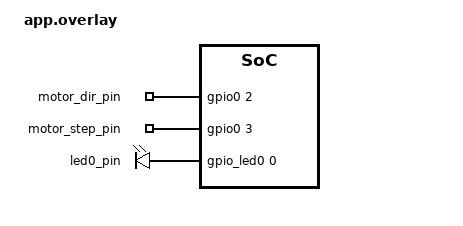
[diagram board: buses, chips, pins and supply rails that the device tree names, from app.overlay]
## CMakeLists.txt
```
# SPDX-License-Identifier: Apache-2.0

cmake_minimum_required(VERSION 3.20.0)

find_package(Zephyr REQUIRED HINTS $ENV{ZEPHYR_BASE})
project(syringepump)

target_sources(app PRIVATE src/main.c)
```

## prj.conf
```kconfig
CONFIG_LLVM_USE_LLD=y
CONFIG_COMPILER_RT_RTLIB=y

CONFIG_USERSPACE=y
CONFIG_FPU=y
CONFIG_FPU_SHARING=y

CONFIG_COMPILER_OPT="-O2"
```

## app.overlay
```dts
/ {
	aliases {
		motor-dir = &motor_dir_pin;
		motor-step = &motor_step_pin;
		led0 = &led0_pin;
	};

	gpios {
		compatible = "gpio-leds";

		/* Temporary mapping: replace gpio0/pin numbers after checking MPS3 pinout */
		motor_dir_pin: motor_dir_pin {
			gpios = <&gpio0 2 0>;
		};

		motor_step_pin: motor_step_pin {
			gpios = <&gpio0 3 0>;
		};

		/* On-board MPS3 LED 0 */
		led0_pin: led0_pin {
			gpios = <&gpio_led0 0>;
		};
	};
};
```

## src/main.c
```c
/*
 * Copyright (c) 2024, Your Name <your.email@example.com>
 *
 * SPDX-License-Identifier: Apache-2.0
 */

/*
 * Syringe Pump Control for Zephyr RTOS (Benchmark Version)
 *
 * This code is a port of a RIOT OS benchmark sketch for controlling a stepper
 * motor-based syringe pump and measuring performance characteristics.
 * It does not require an LCD or keypad shield.
 *
 * --- Zephyr Configuration Requirements ---
 *
 * 1. prj.conf:
 *    Make sure your prj.conf file includes these configurations.
 *
 *    CONFIG_GPIO=y
 *    CONFIG_UART_CONSOLE=y
 *    CONFIG_FPU=y
 *    CONFIG_CBPRINTF_FP_SUPPORT=y
 *    CONFIG_ARCH_HAS_DWT=y
 *
 * 2. app.overlay (Devicetree Overlay):
 *    Define the motor control pins for your board.
 *
 *    / {
 *        aliases {
 *            motor-dir = &motor_dir_pin;
 *            motor-step = &motor_step_pin;
 *            led0 = &led0_pin; // For visual feedback
 *        };
 *
 *        gpios {
 *            compatible = "gpio-leds";
 *            motor_dir_pin: motor_dir_pin {
 *                gpios = <&gpio0 2 0>; // Example: Arduino D2
 *            };
 *            motor_step_pin: motor_step_pin {
 *                gpios = <&gpio0 3 0>; // Example: Arduino D3
 *            };
 *            led0_pin: led0_pin {
 *                gpios = <&gpio0 13 0>; // Example: Arduino on-board LED
 *                label = "User LED";
 *            };
 *        };
 *    };
 */

#include <zephyr/kernel.h>
#include <zephyr/device.h>
#include <zephyr/devicetree.h>
#include <zephyr/drivers/gpio.h>
#include <zephyr/sys/printk.h>
#include <cmsis_core.h>

#include <stdio.h>
#include <stdlib.h>
#include <string.h>
#include <math.h>

/* -- Constants -- */
#define SYRINGE_VOLUME_ML 30.0
#define SYRINGE_BARREL_LENGTH_MM 80.0

#define THREADED_ROD_PITCH 1.25
#define STEPS_PER_REVOLUTION 200.0
#define MICROSTEPS_PER_STEP 16.0

#define SPEED_MICROSECONDS_DELAY 100 // longer delay = lower speed

/* Calculate steps per unit */
#define USTEPS_PER_ML ((MICROSTEPS_PER_STEP * STEPS_PER_REVOLUTION * SYRINGE_BARREL_LENGTH_MM) / (SYRINGE_VOLUME_ML * THREADED_ROD_PITCH))

/* -- Pin definitions from Devicetree -- */
static const struct gpio_dt_spec motor_dir_pin = GPIO_DT_SPEC_GET(DT_ALIAS(motor_dir), gpios);
static const struct gpio_dt_spec motor_step_pin = GPIO_DT_SPEC_GET(DT_ALIAS(motor_step), gpios);
static const struct gpio_dt_spec led0 = GPIO_DT_SPEC_GET(DT_ALIAS(led0), gpios);

/* -- Enums and constants -- */
enum { PUSH, PULL }; // syringe movement direction
enum { MAIN, BOLUS_MENU }; // UI states

const int mLBolusStepsLength = 9;
static const float mLBolusSteps[9] = {0.001, 0.005, 0.010, 0.050, 0.100, 0.500, 1.000, 5.000, 10.000};

/* -- Default Parameters -- */
float mLBolus = 0.500; // default bolus size
float mLUsed = 0.0;
int mLBolusStepIdx = 3; // 0.05 mL increments at first
float mLBolusStep;

// menu stuff
int uiState = MAIN;

// serial
char serialStr[40] = {0};
bool serialStrReady = false;

/* Function prototypes */
void processSerial(void);
void bolus(int direction);
void updateScreen(void);

#define DEMCR (*(volatile uint32_t *) 0xE000EDFC)
#define DWT_CTRL (*(volatile uint32_t *) 0xE0001000)
#define DWT_CYCCNT (*(volatile uint32_t *) 0xE0001004)

void enable_dwt(){
    if(DWT_CTRL != 0){
        DEMCR |= (1 << 24);
    // uint64_t start_cycles = k_cycle_get_64();
        DWT_CYCCNT = 0;
        DWT_CTRL |= 1;
    }
}

void bolus(int direction) {
    long steps = (long)(mLBolus * USTEPS_PER_ML);
    if (direction == PUSH) {
        gpio_pin_toggle_dt(&led0);
        gpio_pin_set_dt(&motor_dir_pin, 1);
        mLUsed += mLBolus;
    } else if (direction == PULL) {
        gpio_pin_toggle_dt(&led0);
        gpio_pin_set_dt(&motor_dir_pin, 0);
        mLUsed -= mLBolus;
        if (mLUsed < 0) {
            mLUsed = 0;
        }
    }

    uint32_t usDelay = SPEED_MICROSECONDS_DELAY;
    for (long i = 0; i < steps; i++) {
        gpio_pin_set_dt(&motor_step_pin, 1);
        k_busy_wait(usDelay);
        gpio_pin_set_dt(&motor_step_pin, 0);
        k_busy_wait(usDelay);
    }
}

void updateScreen(void) {
    if (uiState == MAIN) {
        // printk("\rUsed %.3f mL | Bolus %.3f mL", mLUsed, mLBolus);
        printk("\rUsed %d mL | Bolus %d mL\n", (int)mLUsed, (int)mLBolus);
    } else if (uiState == BOLUS_MENU) {
        printk("\rMenu> BolusStep: %.3f\n", mLBolusStep);
    }
}

void processSerial(void) {
    if (serialStr[0] == '+') {
        bolus(PUSH);
        updateScreen();
    } else if (serialStr[0] == '-') {
        bolus(PULL);
        updateScreen();
    } else {
        int uLbolus = atoi(serialStr);
        if (uLbolus != 0) {
            mLBolus = (float)uLbolus / 1000.0;
            updateScreen();
        } else {
            printk("Invalid command: [%s]\n", serialStr);
        }
    }
    serialStrReady = false;
    memset(serialStr, 0, sizeof(serialStr));
}

void loop(int count) {
	mLBolus = 0.001 * count;
	serialStr[0] = '+';
	serialStrReady = true;

	if (serialStrReady) {
		processSerial();
	}
}

int main(void) {
    printk("SyringePump v2.0\n");

    enable_dwt();

    uint32_t freq = sys_clock_hw_cycles_per_sec();
    printk("CPU freq: %u Hz\n", freq);

    /* Initialize mLBolusStep */
    mLBolusStep = mLBolusSteps[mLBolusStepIdx];

    /* Motor Setup */
    if (!device_is_ready(motor_dir_pin.port) || !device_is_ready(motor_step_pin.port) || !device_is_ready(led0.port)) {
        printk("GPIO device not ready.\n");
        return 0;
    }
    gpio_pin_configure_dt(&motor_dir_pin, GPIO_OUTPUT_INACTIVE);
    gpio_pin_configure_dt(&motor_step_pin, GPIO_OUTPUT_INACTIVE);
    gpio_pin_configure_dt(&led0, GPIO_OUTPUT_INACTIVE);

    uint32_t start = DWT_CYCCNT;
    int count = 1;
    while (count < 62) {
        count += 10;
        loop(count);
    }
    uint32_t cycles = DWT_CYCCNT - start;

    printf("time cycles: %u\n", cycles);

	printf("=============================================\n\n");

    return 0;
}
```

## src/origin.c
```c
#include <stdio.h>
#include <string.h>
#include <math.h>
#include <stdlib.h>
#include "clk.h"
#include "cpu.h"
#include "periph/gpio.h"
#include "periph/pwm.h"
#include "periph/uart.h"
#include "xtimer.h"
#include "board.h"
#include "periph_conf.h"

/* -- Constants -- */
#define SYRINGE_VOLUME_ML 30.0
#define SYRINGE_BARREL_LENGTH_MM 80.0

#define THREADED_ROD_PITCH 1.25
#define STEPS_PER_REVOLUTION 200.0
#define MICROSTEPS_PER_STEP 16.0

#define SPEED_MICROSECONDS_DELAY 100 //longer delay = lower speed

/* Calculate steps per unit */
#define USTEPS_PER_MM (MICROSTEPS_PER_STEP * STEPS_PER_REVOLUTION / THREADED_ROD_PITCH)
#define USTEPS_PER_ML ((MICROSTEPS_PER_STEP * STEPS_PER_REVOLUTION * SYRINGE_BARREL_LENGTH_MM) / (SYRINGE_VOLUME_ML * THREADED_ROD_PITCH))

/* -- Pin definitions -- */
#define MOTOR_DIR_PIN GPIO_PIN(PORT_A, 2)  // Port A, Pin 2
#define MOTOR_STEP_PIN GPIO_PIN(PORT_A, 3) // Port A, Pin 3
#define TRIGGER_PIN GPIO_PIN(PORT_A, 5)    // Port A, Pin 5 (changed from Pin 3 to avoid conflict)
#define BIG_TRIGGER_PIN GPIO_PIN(PORT_A, 4) // Port A, Pin 4

/* -- GPIO modes -- */
#define GPIO_IN_PU GPIO_IN_PU
#define GPIO_OUT GPIO_OUT

/* -- Keypad states -- */
#define KEY_RIGHT 0
#define KEY_UP 1
#define KEY_DOWN 2
#define KEY_LEFT 3
#define KEY_SELECT 4
#define KEY_NONE 5

#define NUM_KEYS 5
static const int adc_key_val[5] = {30, 150, 360, 535, 760};

#define DWT_CYCCNT (*(uint32_t *) 0xe0001004)

/* -- Enums and constants -- */
enum {PUSH, PULL}; //syringe movement direction
enum {MAIN, BOLUS_MENU}; //UI states

const int mLBolusStepsLength = 9;
static const float mLBolusSteps[9] = {0.001, 0.005, 0.010, 0.050, 0.100, 0.500, 1.000, 5.000, 10.000};

/* -- Default Parameters -- */
float mLBolus = 0.500; //default bolus size
float mLBigBolus = 1.000; //default large bolus size
float mLUsed = 0.0;
int mLBolusStepIdx = 3; //0.05 mL increments at first
float mLBolusStep = 0.050; // Initial value, will be updated in main()

long stepperPos = 0; //in microsteps

//debounce params
long lastKeyRepeatAt = 0;
long keyRepeatDelay = 400;
long keyDebounce = 125;
int prevKey = KEY_NONE;
        
//menu stuff
int uiState = MAIN;

//triggering
uint8_t prevBigTrigger = 1;
uint8_t prevTrigger = 1;

//serial
char serialStr[40] = {0};
uint8_t serialStrReady = 0;
size_t serialStrLen = 0;

/* Function prototypes */
void checkTriggers(void);
void readSerial(void);
void processSerial(void);
void bolus(int direction);
void readKey(void);
void doKeyAction(unsigned int key);
void updateScreen(void);
int get_key(unsigned int input);
void decToString(float decNumber, char *buf, size_t size);

static void delay(unsigned d) {
	uint32_t loops = coreclk()*d / 20000;
	for (volatile uint32_t i=0; i<loops; i++) {}
}

void loop(int count) {
	mLBolus = 0.001 * count;
	serialStr[0] = '+';
	serialStrReady = true;

	enable_dwt();
  __asm__ volatile(
	"mov	r9, #0x8000	\n"
	"movt	r9, #0x2000	\n"
	"msr	psplim, r9	\n"
	"mov	r9, #0		\n"
	"msr	msplim, r9	\n"
	"movt	r9, #0x2003	\n"
	"msr	psp, r9		\n"
  );


	if (serialStrReady) {
		processSerial();
	}
  unsigned psplim, msplim, psp;
  __asm__ volatile(
	"mrs	%0, psplim	\n"
	"mrs	%1, msplim	\n"
	"mrs	%2, psp		\n"
	:"=r"(psplim), "=r"(msplim), "=r"(psp)::
  );
  printf("psplim: 0x%lx\tmsplim: %u\tpsp: %u\n", psplim, msplim, psp);
  printf("stack peak: %u\tplaceRedzone: %u\tshiftRedzone: %u\n", 0x20008000-psplim, msplim/8, (0x20030000-psp)/8);


	uint32_t clock = DWT_CYCCNT;
	printf("syringepump clock cycle: %u\n", clock);

}

int main(void) {
    printf("SyringePump v2.0\n");

    /* Initialize mLBolusStep */
    mLBolusStep = mLBolusSteps[mLBolusStepIdx];

    /* Triggering setup */
    gpio_init(TRIGGER_PIN, GPIO_IN_PU);
    gpio_init(BIG_TRIGGER_PIN, GPIO_IN_PU);
    
    /* Motor Setup */ 
    gpio_init(MOTOR_DIR_PIN, GPIO_OUT);
    gpio_init(MOTOR_STEP_PIN, GPIO_OUT);

	int count = 1;
	while (count < 62) {
		count += 10;
		loop(count);
	}

    /*for (int i=0; i<5; i++) {
        readKey();
        checkTriggers();
        readSerial();
        if(serialStrReady) {
            processSerial();
        }
    }*/
    return 0;
}

void checkTriggers(void) {
    //check low-reward trigger line
    int pushTriggerValue = gpio_read(TRIGGER_PIN);
    if(pushTriggerValue == 1 && prevTrigger == 0) {
        bolus(PUSH);
        updateScreen();
    }
    prevTrigger = pushTriggerValue;
    
    //check high-reward trigger line
    int bigTriggerValue = gpio_read(BIG_TRIGGER_PIN);
    if(bigTriggerValue == 1 && prevBigTrigger == 0) {
        //push big reward amount
        float mLBolusTemp = mLBolus;
        mLBolus = mLBigBolus;
        bolus(PUSH);
        mLBolus = mLBolusTemp;
        updateScreen();
    }
    prevBigTrigger = bigTriggerValue;
}

void processSerial(void) {
    if (serialStr[0] == '+') {
        bolus(PUSH);
        updateScreen();
    }
    else if (serialStr[0] == '-') {
        bolus(PULL);
        updateScreen();
    }
    else {
        int uLbolus = atoi(serialStr);
        if (uLbolus != 0) {
            mLBolus = (float)uLbolus / 1000.0;
            updateScreen();
        }
        else {
            printf("Invalid command: [%s]\n", serialStr);
        }
    }
    serialStrReady = 0;
    serialStrLen = 0;
}

void bolus(int direction) {
    long steps = (mLBolus * USTEPS_PER_ML);
    if(direction == PUSH) {
		LED0_TOGGLE;
        gpio_write(MOTOR_DIR_PIN, 1);
        steps = mLBolus * USTEPS_PER_ML;
        mLUsed += mLBolus;
    }
    else if(direction == PULL) {
		LED0_TOGGLE;
        gpio_write(MOTOR_DIR_PIN, 0);
        if((mLUsed-mLBolus) > 0) {
            mLUsed -= mLBolus;
        }
        else {
            mLUsed = 0;
        }
    }    

    float usDelay = SPEED_MICROSECONDS_DELAY;
    
    for(long i=0; i < steps; i++) { 
        gpio_write(MOTOR_STEP_PIN, 1);
		delay(usDelay);
        //xtimer_usleep(usDelay);
        gpio_write(MOTOR_STEP_PIN, 0);
		delay(usDelay);
        //xtimer_usleep(usDelay);
    }
}

void readKey(void) {
    // Simulate keypad input - always return KEY_RIGHT
    int key = KEY_RIGHT;

    long currentTime = xtimer_now_usec() / 1000; // Convert to milliseconds
    long timeSinceLastPress = (currentTime - lastKeyRepeatAt);
    
    uint8_t processThisKey = 0;
    if (prevKey == key && timeSinceLastPress > keyRepeatDelay) {
        processThisKey = 1;
    }
    if (prevKey == KEY_NONE && timeSinceLastPress > keyDebounce) {
        processThisKey = 1;
    }
    if (key == KEY_NONE) {
        processThisKey = 0;
    }  
    
    prevKey = key;
    
    if (processThisKey) {
        doKeyAction(key);
        lastKeyRepeatAt = currentTime;
    }
}

void doKeyAction(unsigned int key){
	if(key == KEY_NONE){
        return;
    }

	if(key == KEY_SELECT){
		if(uiState == MAIN){
			uiState = BOLUS_MENU;
		}
		else if(BOLUS_MENU){
			uiState = MAIN;
		}
	}

	if(uiState == MAIN){
		if(key == KEY_LEFT){
			bolus(PULL);
		}
		if(key == KEY_RIGHT){
			bolus(PUSH);
		}
		if(key == KEY_UP){
			mLBolus += mLBolusStep;
		}
		if(key == KEY_DOWN){
			if((mLBolus - mLBolusStep) > 0){
			  mLBolus -= mLBolusStep;
			}
			else{
			  mLBolus = 0;
			}
		}
	}
	else if(uiState == BOLUS_MENU){
		if(key == KEY_LEFT){
			//nothin'
		}
		if(key == KEY_RIGHT){
			//nothin'
		}
		if(key == KEY_UP){
			if(mLBolusStepIdx < mLBolusStepsLength-1){
				mLBolusStepIdx++;
				mLBolusStep = mLBolusSteps[mLBolusStepIdx];
			}
		}
		if(key == KEY_DOWN){
			if(mLBolusStepIdx > 0){
				mLBolusStepIdx -= 1;
				mLBolusStep = mLBolusSteps[mLBolusStepIdx];
			}
		}
	}

	updateScreen();
}

void updateScreen(void) {
    if (uiState == MAIN) {
        printf("\rUsed %.3f mL | Bolus %.3f mL", mLUsed, mLBolus);
    }
    else if (uiState == BOLUS_MENU) {
        printf("\rMenu> BolusStep: %.3f", mLBolusStep);
    }
    fflush(stdout);
}

// Convert ADC value to key number
int get_key(unsigned int input){
  int k;
  for (k = 0; k < NUM_KEYS; k++){
    if (input < adc_key_val[k]){
      return k;
    }
  }
  if (k >= NUM_KEYS){
    k = KEY_NONE;     // No valid key pressed
  }
  return k;
}

void decToString(float decNumber, char *buf, size_t size) {
    //not a general use converter! Just good for the numbers we're working with here.
    int wholePart = decNumber; //truncate
    int decPart = round(abs(decNumber*1000)-abs(wholePart*1000)); //3 decimal places
    char strZeros[4] = "";
    
    if(decPart < 10) {
        strcpy(strZeros, "00");
    }  
    else if(decPart < 100) {
        strcpy(strZeros, "0");
    }
    
    snprintf(buf, size, "%d.%s%d", wholePart, strZeros, decPart);
}

void readSerial(void) {
    if (scanf("%39s", serialStr) == 1) {
        serialStrReady = 1;
        serialStrLen = strlen(serialStr);
    }
}
```
